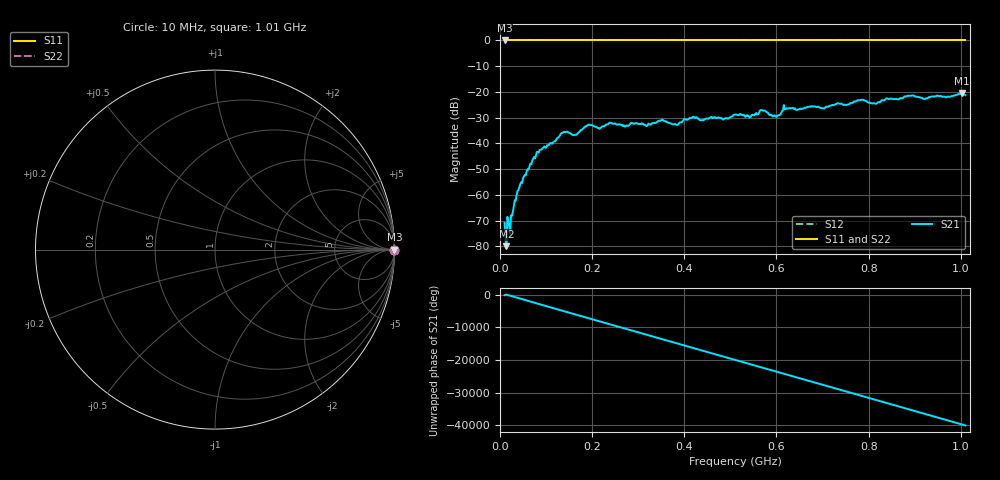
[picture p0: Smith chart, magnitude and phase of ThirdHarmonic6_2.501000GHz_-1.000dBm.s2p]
! 8/17/2025 4:47:59 AM
! C:\ANRITSUVNA\TEMP\TEMP.S2P
! CHANNEL.1
! TR.MEASUREMENT
! RAW.DATA
! RF.CORRECTION.OFF
! AVERAGING.OFF
! IF.BANDWIDTH: 5KHZ
! SWEEPTYPE:  FREQ.SWEEP(Linear)
! Reference Plane Port Info
! PORT:  PORT1  PORT2
! DISTANCE:  0  m  0  m
! TIME:  0  s  0  s
! PHASE.OFFSET:  0  deg.  0  deg.
! LOSS:  0  dB  0  dB
! REF.LOSS:  0  dB  0  dB
! REF.FREQ:  0  Hz  0  Hz
! Power Info
! POWER:  -20  dBm  -20  dBm
! EFF.POWER:  -20  dBm  -20  dBm
! SOURCE.ATTEN:  0  dB  0  dB
! TEST.ATTEN:  0  dB  0  dB
# GHZ S RI R 50.0
! FREQ.GHZ  S11RE  S11IM  S21RE  S21IM  S12RE  S12IM  S22RE  S22IM
!; PortSelection: Port_12
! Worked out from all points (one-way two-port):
!   501 points, 10 MHz to 1.01 GHz, reference 50 ohm
!   highest |S21| = -20.36 dB at 1.002 GHz (marker M1); lowest = -79.9 dB at 14 MHz (marker M2)
!   lowest |S11| = 0.0 dB at 10 MHz (marker M3)
!   |S11| at or under -10 dB: nowhere
!   |S22| runs from 0.0 to 0.0 dB; largest |S21 - S12| = 1.1
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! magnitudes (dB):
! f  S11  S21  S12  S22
! 10 MHz  0.0  -71.0  0.0  0.0
! 14 MHz  0.0  -79.9  0.0  0.0
! 24 MHz  0.0  -68.0  0.0  0.0
! 42 MHz  0.0  -57.0  0.0  0.0
! 82 MHz  0.0  -43.4  0.0  0.0
! 136 MHz  0.0  -35.9  0.0  0.0
! 162 MHz  0.0  -36.7  0.0  0.0
! 178 MHz  0.0  -34.6  0.0  0.0
! 194 MHz  0.0  -32.7  0.0  0.0
! 216 MHz  0.0  -34.3  0.0  0.0
! 344 MHz  0.0  -31.4  0.0  0.0
! 382 MHz  0.0  -32.7  0.0  0.0
! 416 MHz  0.0  -30.1  0.0  0.0
! 510 MHz  0.0  -28.8  0.0  0.0
! 544 MHz  0.0  -29.7  0.0  0.0
! 568 MHz  0.0  -27.1  0.0  0.0
! 596 MHz  0.0  -29.2  0.0  0.0
! 620 MHz  0.0  -26.6  0.0  0.0
! 678 MHz  0.0  -25.6  0.0  0.0
! 844 MHz  0.0  -22.7  0.0  0.0
! 1.002 GHz  0.0  -20.4  0.0  0.0
! 1.01 GHz  0.0  -21.3  0.0  0.0
